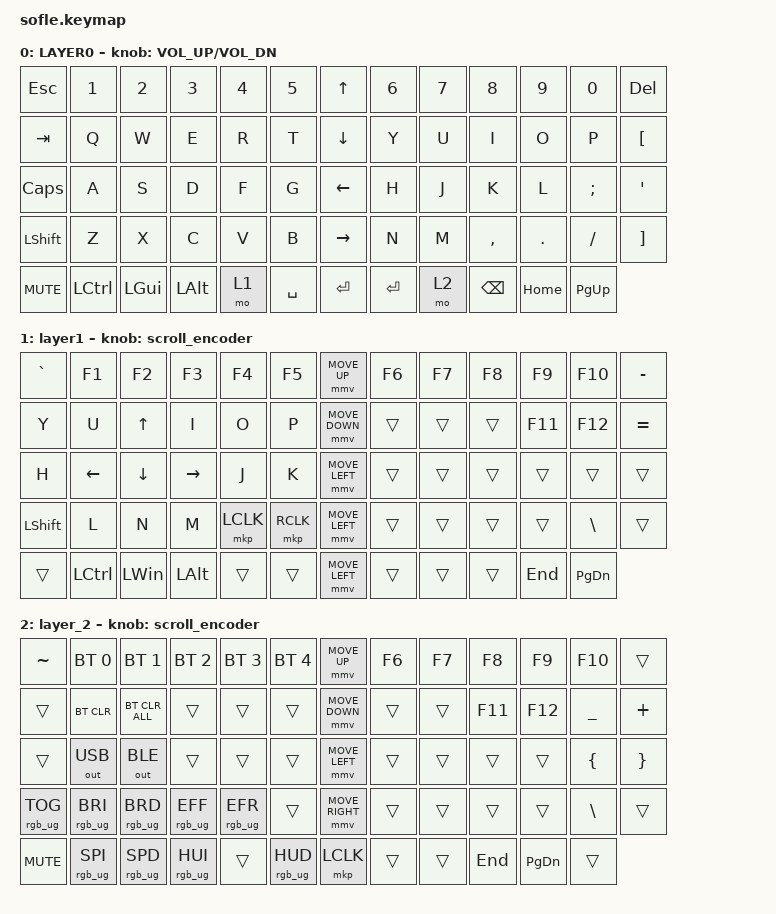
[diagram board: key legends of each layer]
#include <dt-bindings/zmk/mouse.h>
#include <behaviors.dtsi>
#include <dt-bindings/zmk/bt.h>
#include <dt-bindings/zmk/keys.h>
#include <dt-bindings/zmk/outputs.h>

#include <dt-bindings/zmk/rgb.h>

#define ZMK_MOUSE_DEFAULT_MOVE_VAL 1200  // 600
#define ZMK_MOUSE_DEFAULT_SCRL_VAL 20    // 10
#define U_MS_U &mmv MOVE_UP
#define U_MS_D &mmv MOVE_DOWN
#define U_MS_L &mmv MOVE_LEFT
#define U_MS_R &mmv MOVE_RIGHT
#define ZMK_MOUSE_DEFAULT_MOVE_VAL 1200  //  600
#define ZMK_MOUSE_DEFAULT_SCRL_VAL 20    // 10

/ {
    behaviors {
        mmv {
            acceleration-exponent = <1>;      // 1
            time-to-max-speed-ms = <900>;    // 40
            delay-ms = <0>;                   // 0
        };

        msc {
            acceleration-exponent = <1>;      // 0
            time-to-max-speed-ms = <400>;      // 500
            delay-ms = <0>;                   //   10
        };
    };

    scroll_encoder: scroll_encoder {
        compatible = "zmk,behavior-sensor-rotate";
        #sensor-binding-cells = <0>;
        bindings = <&msc SCRL_DOWN>, <&msc SCRL_UP>;

        tap-ms = <30>;
    };

    keymap {
        compatible = "zmk,keymap";

        layer0 {
            bindings = <
&kp ESC     &kp N1     &kp N2        &kp N3        &kp N4  &kp N5       &kp UP_ARROW     &kp N6     &kp N7  &kp N8         &kp N9    &kp N0     &kp DELETE
&kp TAB     &kp Q      &kp W         &kp E         &kp R   &kp T        &kp DOWN_ARROW   &kp Y      &kp U   &kp I          &kp O     &kp P      &kp LEFT_BRACKET
&kp CAPS    &kp A      &kp S         &kp D         &kp F   &kp G        &kp LEFT_ARROW   &kp H      &kp J   &kp K          &kp L     &kp SEMI   &kp APOS
&kp LSHFT   &kp Z      &kp X         &kp C         &kp V   &kp B        &kp RIGHT_ARROW  &kp N      &kp M   &kp COMMA      &kp DOT   &kp FSLH   &kp RIGHT_BRACKET
&kp C_MUTE  &kp LCTRL  &kp LEFT_GUI  &kp LEFT_ALT  &mo 1   &kp SPACE    &kp ENTER        &kp ENTER  &mo 2   &kp BACKSPACE  &kp HOME  &kp PG_UP
            >;

            sensor-bindings = <&inc_dec_kp C_VOLUME_UP C_VOL_DN>;
            display-name = "LAYER0";
        };

        layer_1 {
            bindings = <
&kp GRAVE       &kp F1     &kp F2        &kp F3        &kp F4     &kp F5       &mmv MOVE_UP    &kp F6  &kp F7  &kp F8  &kp F9   &kp F10        &kp MINUS
&kp Y           &kp U      &kp UP        &kp I         &kp O      &kp P        &mmv MOVE_DOWN  &trans  &trans  &trans  &kp F11  &kp F12        &kp EQUAL
&kp H           &kp LEFT   &kp DOWN      &kp RIGHT     &kp J      &kp K        &mmv MOVE_LEFT  &trans  &trans  &trans  &trans   &trans         &trans
&kp LEFT_SHIFT  &kp L      &kp N         &kp M         &mkp LCLK  &mkp RCLK    &mmv MOVE_LEFT  &trans  &trans  &trans  &trans   &kp BACKSLASH  &trans
&trans          &kp LCTRL  &kp LEFT_WIN  &kp LEFT_ALT  &trans     &trans       &mmv MOVE_LEFT  &trans  &trans  &trans  &kp END  &kp PAGE_DOWN
            >;

            display-name = "layer1";
            sensor-bindings = <&scroll_encoder>;
        };

        layer_2 {
            bindings = <
&kp TILDE        &bt BT_SEL 0     &bt BT_SEL 1     &bt BT_SEL 2     &bt BT_SEL 3     &bt BT_SEL 4       &mmv MOVE_UP     &kp F6  &kp F7  &kp F8   &kp F9         &kp F10        &trans
&trans           &bt BT_CLR       &bt BT_CLR_ALL   &trans           &trans           &trans             &mmv MOVE_DOWN   &trans  &trans  &kp F11  &kp F12        &kp UNDER      &kp PLUS
&trans           &out OUT_USB     &out OUT_BLE     &trans           &trans           &trans             &mmv MOVE_LEFT   &trans  &trans  &trans   &trans         &kp LBRC       &kp RBRC
&rgb_ug RGB_TOG  &rgb_ug RGB_BRI  &rgb_ug RGB_BRD  &rgb_ug RGB_EFF  &rgb_ug RGB_EFR  &trans             &mmv MOVE_RIGHT  &trans  &trans  &trans   &trans         &kp BACKSLASH  &trans
&kp C_MUTE       &rgb_ug RGB_SPI  &rgb_ug RGB_SPD  &rgb_ug RGB_HUI  &trans           &rgb_ug RGB_HUD    &mkp LCLK        &trans  &trans  &kp END  &kp PAGE_DOWN  &trans
            >;

            sensor-bindings = <&scroll_encoder>;
        };
    };
};
